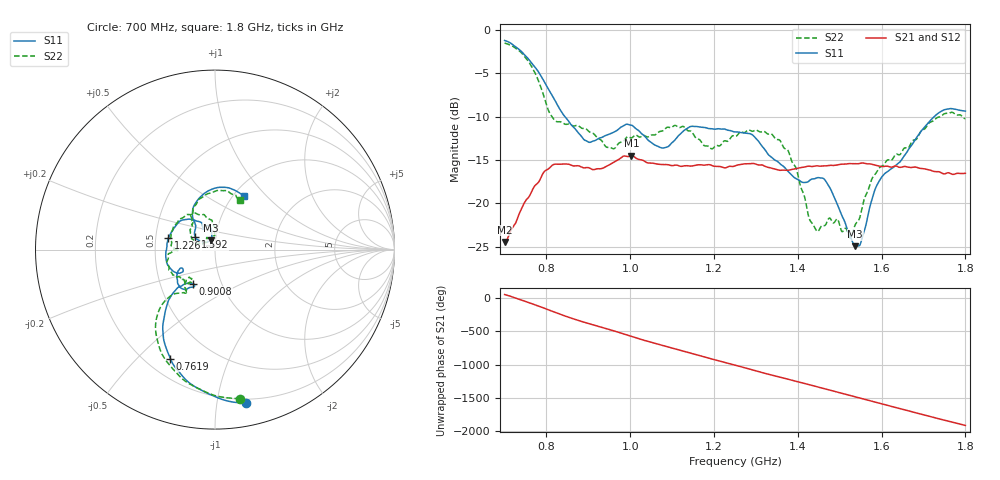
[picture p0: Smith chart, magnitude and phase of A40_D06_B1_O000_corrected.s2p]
! Created with skrf 1.9.0 (http://scikit-rf.org).
# Hz S RI R 50.0
!freq ReS11 ImS11 ReS21 ImS21 ReS12 ImS12 ReS22 ImS22
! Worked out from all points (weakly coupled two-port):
!   1601 points, 700 MHz to 1.8 GHz, reference 50 ohm
!   highest |S21| = -14.51 dB at 1.002 GHz (marker M1); lowest = -24.4 dB at 700 MHz (marker M2)
!   lowest |S11| = -24.9 dB at 1.537 GHz (marker M3), VSWR 1.12, Z = 47.4 + j4.89 ohm
!   |S11| at or under -10 dB: 844.1 MHz to 1.725 GHz (881.2 MHz wide, 68.6 % of centre)
!   |S22| runs from -24.0 to -1.5 dB; largest |S21 - S12| = 0.0034
!   S11 on the Smith chart (normalised r, x): 700 MHz: 0.17, -1.21; 761.9 MHz: 0.30, -0.63; 900.8 MHz: 0.73, -0.29; 1.226 GHz: 0.58, +0.08; 1.592 GHz: 0.79, +0.12; 1.8 GHz: 1.12, +0.76
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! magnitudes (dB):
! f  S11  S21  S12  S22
! 700 MHz  -1.2  -24.4  -24.2  -1.5
! 761.9 MHz  -3.7  -18.9  -18.9  -4.0
! 816.9 MHz  -7.8  -15.5  -15.6  -10.3
! 883.6 MHz  -12.3  -15.8  -15.7  -11.3
! 900.8 MHz  -12.9  -15.9  -15.9  -11.7
! 957.8 MHz  -11.8  -15.3  -15.3  -13.7
! 1.002 GHz  -11.0  -14.5  -14.6  -12.5
! 1.067 GHz  -13.4  -15.5  -15.4  -11.8
! 1.145 GHz  -11.1  -15.7  -15.7  -11.7
! 1.226 GHz  -11.4  -15.9  -15.8  -12.8
! 1.25 GHz  -11.8  -15.7  -15.6  -12.3
! 1.357 GHz  -15.4  -16.2  -16.1  -12.7
! 1.395 GHz  -17.1  -16.0  -16.0  -15.9
! 1.434 GHz  -17.2  -15.7  -15.7  -22.3
! 1.469 GHz  -17.7  -15.7  -15.6  -22.2
! 1.525 GHz  -23.9  -15.4  -15.4  -24.0
! 1.537 GHz  -24.9  -15.4  -15.4  -22.5
! 1.551 GHz  -24.4  -15.4  -15.4  -21.0
! 1.592 GHz  -17.6  -15.7  -15.7  -16.1
! 1.617 GHz  -16.2  -15.8  -15.7  -15.0
! 1.733 GHz  -9.7  -16.3  -16.4  -10.1
! 1.8 GHz  -9.4  -16.5  -16.5  -10.2
